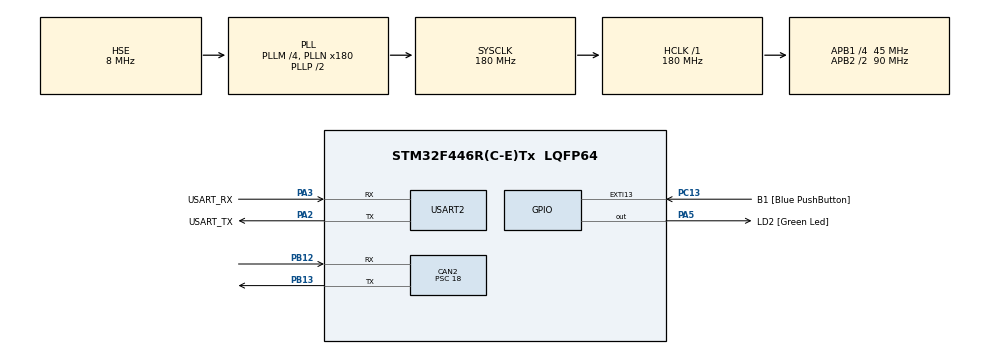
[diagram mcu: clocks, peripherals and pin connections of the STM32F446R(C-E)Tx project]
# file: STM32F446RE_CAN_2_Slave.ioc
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CAN2.BS1=CAN_BS1_2TQ
CAN2.BS2=CAN_BS2_2TQ
CAN2.CalculateBaudRate=500000
CAN2.CalculateTimeBit=2000
CAN2.CalculateTimeQuantum=400.0
CAN2.Prescaler=18
Mcu.Family=STM32F4
Mcu.Name=STM32F446R(C-E)Tx
Mcu.Package=LQFP64
NVIC.CAN2_RX0_IRQn=true\:0\:0\:false\:false\:true\:true\:true\:true
NVIC.CAN2_RX1_IRQn=true\:0\:0\:false\:false\:true\:true\:true\:true
NVIC.CAN2_SCE_IRQn=true\:0\:0\:false\:false\:true\:true\:true\:true
NVIC.CAN2_TX_IRQn=true\:0\:0\:false\:false\:true\:true\:true\:true
NVIC.PriorityGroup=NVIC_PRIORITYGROUP_0
PA13.GPIO_Label=TMS
PA13.Mode=Serial_Wire
PA13.Signal=SYS_JTMS-SWDIO
PA14.GPIO_Label=TCK
PA14.Mode=Serial_Wire
PA14.Signal=SYS_JTCK-SWCLK
PA2.GPIO_Label=USART_TX
PA2.Mode=Asynchronous
PA2.Signal=USART2_TX
PA3.GPIO_Label=USART_RX
PA3.Mode=Asynchronous
PA3.Signal=USART2_RX
PA5.GPIO_Label=LD2 [Green Led]
PA5.Signal=GPIO_Output
PB12.Mode=CAN_Activate
PB12.Signal=CAN2_RX
PB13.Mode=CAN_Activate
PB13.Signal=CAN2_TX
PB3.GPIO_Label=SWO
PB3.Signal=SYS_JTDO-SWO
PC13.GPIO_Label=B1 [Blue PushButton]
PC13.GPIO_ModeDefaultEXTI=GPIO_MODE_IT_FALLING
PC13.Signal=GPXTI13
PC14-OSC32_IN.Mode=LSE-External-Oscillator
PC14-OSC32_IN.Signal=RCC_OSC32_IN
PC15-OSC32_OUT.Mode=LSE-External-Oscillator
PC15-OSC32_OUT.Signal=RCC_OSC32_OUT
PH0-OSC_IN.Mode=HSE-External-Oscillator
PH0-OSC_IN.Signal=RCC_OSC_IN
PH1-OSC_OUT.Mode=HSE-External-Oscillator
PH1-OSC_OUT.Signal=RCC_OSC_OUT
ProjectManager.HeapSize=0x200
ProjectManager.StackSize=0x400
ProjectManager.TargetToolchain=STM32CubeIDE
RCC.48MHZClocksFreq_Value=84000000
RCC.AHBFreq_Value=180000000
RCC.APB1CLKDivider=RCC_HCLK_DIV4
RCC.APB1Freq_Value=45000000
RCC.APB1TimFreq_Value=90000000
RCC.APB2CLKDivider=RCC_HCLK_DIV2
RCC.APB2Freq_Value=90000000
RCC.APB2TimFreq_Value=180000000
RCC.CortexFreq_Value=180000000
RCC.FLatency-AdvancedSettings=FLASH_LATENCY_5
RCC.HCLKFreq_Value=180000000
RCC.HSE_VALUE=8000000
RCC.HSI_VALUE=16000000
RCC.PLLM=4
RCC.PLLN=180
RCC.PLLSourceVirtual=RCC_PLLSOURCE_HSE
RCC.SYSCLKFreq_VALUE=180000000
RCC.SYSCLKSource=RCC_SYSCLKSOURCE_PLLCLK
RCC.USBFreq_Value=180000000
RCC.VCOOutputFreq_Value=360000000
USART2.VirtualMode=VM_ASYNC
board=NUCLEO-F446RE

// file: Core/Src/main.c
/* USER CODE BEGIN Header */
/**
  ******************************************************************************
  * @file           : main.c
  * @brief          : Main program body
  ******************************************************************************
  * @attention
  *
  * Copyright (c) 2024 STMicroelectronics.
  * All rights reserved.
  *
  * This software is licensed under terms that can be found in the LICENSE file
  * in the root directory of this software component.
  * If no LICENSE file comes with this software, it is provided AS-IS.
  *
  ******************************************************************************
  */
/* USER CODE END Header */
#include "main.h"

CAN_HandleTypeDef hcan2;

UART_HandleTypeDef huart2;

/* USER CODE BEGIN PV */

uint8_t TxData[8];
uint8_t RxData[8];

uint32_t TxMailbox;
uint32_t check = 0;
/* USER CODE END PV */

void SystemClock_Config(void);
static void MX_GPIO_Init(void);
static void MX_USART2_UART_Init(void);
static void MX_CAN2_Init(void);

/* USER CODE BEGIN 0 */
CAN_RxHeaderTypeDef RxHeader;
CAN_TxHeaderTypeDef TXHeader;
/* USER CODE END 0 */

int main(void)
{

  /* MCU Configuration--------------------------------------------------------*/

  /* Reset of all peripherals, Initializes the Flash interface and the Systick. */
  HAL_Init();

  /* Configure the system clock */
  SystemClock_Config();

  /* Initialize all configured peripherals */
  MX_GPIO_Init();
  MX_USART2_UART_Init();
  MX_CAN2_Init();

  /* Infinite loop */
  /* USER CODE BEGIN WHILE */
  while (1)
  {

	  if(HAL_CAN_Start(&hcan2) != HAL_OK)
	  {

		  Error_Handler();
	  }

	  TXHeader.IDE = CAN_ID_STD;
	  TXHeader.StdId = 0x446;
	  TXHeader.RTR = CAN_RTR_DATA;
	  TXHeader.DLC = 8;
	  TXHeader.TransmitGlobalTime = DISABLE;

	  TxData[0] = 'H';
	  TxData[1] = 'E';
	  TxData[2] = 'L';
	  TxData[3] = 'L';
	  TxData[4] = 'O';
	  TxData[5] = ' ';
	  TxData[6] = 'B';
	  TxData[7] = 'L';

	  if(HAL_CAN_AddTxMessage(&hcan2, &TXHeader, TxData, &TxMailbox) != HAL_OK)
	  {
		  Error_Handler();
	  }

	  while(HAL_CAN_GetTxMailboxesFreeLevel(&hcan2) != 3){}

	   check = HAL_CAN_GetRxFifoFillLevel(&hcan2, CAN_RX_FIFO0);
	    if(check != 1)
	    {
	  	  Error_Handler();
	    }

	  if(HAL_CAN_GetRxMessage(&hcan2, CAN_RX_FIFO0, &RxHeader, RxData) != HAL_OK)
	  {
		  Error_Handler();
	  }
    /* USER CODE END WHILE */

  }
}

void SystemClock_Config(void)
{
  RCC_OscInitTypeDef RCC_OscInitStruct = {0};
  RCC_ClkInitTypeDef RCC_ClkInitStruct = {0};

  /** Configure the main internal regulator output voltage
  */
  __HAL_RCC_PWR_CLK_ENABLE();
  __HAL_PWR_VOLTAGESCALING_CONFIG(PWR_REGULATOR_VOLTAGE_SCALE1);

  /** Initializes the RCC Oscillators according to the specified parameters
  * in the RCC_OscInitTypeDef structure.
  */
  RCC_OscInitStruct.OscillatorType = RCC_OSCILLATORTYPE_HSE;
  RCC_OscInitStruct.HSEState = RCC_HSE_ON;
  RCC_OscInitStruct.PLL.PLLState = RCC_PLL_ON;
  RCC_OscInitStruct.PLL.PLLSource = RCC_PLLSOURCE_HSE;
  RCC_OscInitStruct.PLL.PLLM = 4;
  RCC_OscInitStruct.PLL.PLLN = 180;
  RCC_OscInitStruct.PLL.PLLP = RCC_PLLP_DIV2;
  RCC_OscInitStruct.PLL.PLLQ = 2;
  RCC_OscInitStruct.PLL.PLLR = 2;
  if (HAL_RCC_OscConfig(&RCC_OscInitStruct) != HAL_OK)
  {
    Error_Handler();
  }

  /** Activate the Over-Drive mode
  */
  if (HAL_PWREx_EnableOverDrive() != HAL_OK)
  {
    Error_Handler();
  }

  /** Initializes the CPU, AHB and APB buses clocks
  */
  RCC_ClkInitStruct.ClockType = RCC_CLOCKTYPE_HCLK|RCC_CLOCKTYPE_SYSCLK
                              |RCC_CLOCKTYPE_PCLK1|RCC_CLOCKTYPE_PCLK2;
  RCC_ClkInitStruct.SYSCLKSource = RCC_SYSCLKSOURCE_PLLCLK;
  RCC_ClkInitStruct.AHBCLKDivider = RCC_SYSCLK_DIV1;
  RCC_ClkInitStruct.APB1CLKDivider = RCC_HCLK_DIV4;
  RCC_ClkInitStruct.APB2CLKDivider = RCC_HCLK_DIV2;

  if (HAL_RCC_ClockConfig(&RCC_ClkInitStruct, FLASH_LATENCY_5) != HAL_OK)
  {
    Error_Handler();
  }
}

static void MX_CAN2_Init(void)
{

  hcan2.Instance = CAN2;
  hcan2.Init.Prescaler = 18;
  hcan2.Init.Mode = CAN_MODE_NORMAL;
  hcan2.Init.SyncJumpWidth = CAN_SJW_1TQ;
  hcan2.Init.TimeSeg1 = CAN_BS1_2TQ;
  hcan2.Init.TimeSeg2 = CAN_BS2_2TQ;
  hcan2.Init.TimeTriggeredMode = DISABLE;
  hcan2.Init.AutoBusOff = DISABLE;
  hcan2.Init.AutoWakeUp = DISABLE;
  hcan2.Init.AutoRetransmission = DISABLE;
  hcan2.Init.ReceiveFifoLocked = DISABLE;
  hcan2.Init.TransmitFifoPriority = DISABLE;
  if (HAL_CAN_Init(&hcan2) != HAL_OK)
  {
    Error_Handler();
  }
  /* USER CODE BEGIN CAN2_Init 2 */

  CAN_FilterTypeDef sfilterConfig = {0};

  sfilterConfig.FilterActivation = CAN_FILTER_ENABLE;
  sfilterConfig.FilterBank = 18;
  sfilterConfig.FilterFIFOAssignment = CAN_FILTER_FIFO0;
  sfilterConfig.FilterIdHigh = 0; // Set to 0 for standard frame
  sfilterConfig.FilterIdLow = 0x447; // 11-bit identifier for standard frame
  sfilterConfig.FilterMaskIdHigh = 0; // Set to 0 for standard frame
  sfilterConfig.FilterMaskIdLow = 0x7FF; // Mask all bits for standard frame
  sfilterConfig.FilterMode = CAN_FILTERMODE_IDMASK;
  sfilterConfig.FilterScale = CAN_FILTERSCALE_32BIT;
  //sfilterConfig.SlaveStartFilterBank = 20; // Commented out for simplicity

  if( HAL_CAN_ConfigFilter(&hcan2, &sfilterConfig) != HAL_OK)
  {
	  Error_Handler();
  }
  /* USER CODE END CAN2_Init 2 */

}

static void MX_USART2_UART_Init(void)
{

  huart2.Instance = USART2;
  huart2.Init.BaudRate = 115200;
  huart2.Init.WordLength = UART_WORDLENGTH_8B;
  huart2.Init.StopBits = UART_STOPBITS_1;
  huart2.Init.Parity = UART_PARITY_NONE;
  huart2.Init.Mode = UART_MODE_TX_RX;
  huart2.Init.HwFlowCtl = UART_HWCONTROL_NONE;
  huart2.Init.OverSampling = UART_OVERSAMPLING_16;
  if (HAL_UART_Init(&huart2) != HAL_OK)
  {
    Error_Handler();
  }

}

static void MX_GPIO_Init(void)
{
  GPIO_InitTypeDef GPIO_InitStruct = {0};

  /* GPIO Ports Clock Enable */
  __HAL_RCC_GPIOC_CLK_ENABLE();
  __HAL_RCC_GPIOH_CLK_ENABLE();
  __HAL_RCC_GPIOA_CLK_ENABLE();
  __HAL_RCC_GPIOB_CLK_ENABLE();

  /*Configure GPIO pin Output Level */
  HAL_GPIO_WritePin(LD2_GPIO_Port, LD2_Pin, GPIO_PIN_RESET);

  /*Configure GPIO pin : B1_Pin */
  GPIO_InitStruct.Pin = B1_Pin;
  GPIO_InitStruct.Mode = GPIO_MODE_IT_FALLING;
  GPIO_InitStruct.Pull = GPIO_NOPULL;
  HAL_GPIO_Init(B1_GPIO_Port, &GPIO_InitStruct);

  /*Configure GPIO pin : LD2_Pin */
  GPIO_InitStruct.Pin = LD2_Pin;
  GPIO_InitStruct.Mode = GPIO_MODE_OUTPUT_PP;
  GPIO_InitStruct.Pull = GPIO_NOPULL;
  GPIO_InitStruct.Speed = GPIO_SPEED_FREQ_LOW;
  HAL_GPIO_Init(LD2_GPIO_Port, &GPIO_InitStruct);

}

void Error_Handler(void)
{
  __disable_irq();
  while (1)
  {
  }
}
